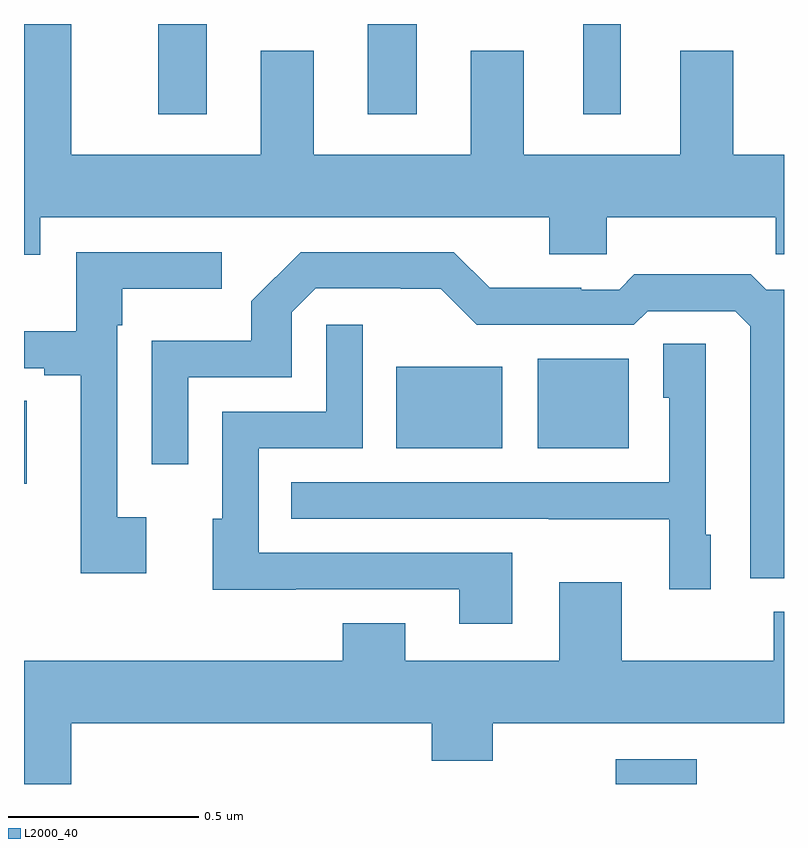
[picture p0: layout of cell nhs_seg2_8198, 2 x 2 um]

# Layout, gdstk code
import gdstk
lib = gdstk.Library(unit=1e-6, precision=1e-09)
def R(c, l, rs):  # rectangles x0, y0, x1, y1
    for r in rs: c.add(gdstk.rectangle(r[:2], r[2:], *l))
def P(c, l, *ps):  # polygons
    for p in ps: c.add(gdstk.Polygon(p, *l))
L2000_40 = (2000, 40)

nhs_seg2_8198 = lib.new_cell('nhs_seg2_8198')
R(nhs_seg2_8198, L2000_40, [(214.557,656.8,214.771,656.865), (213,657.59,213.007,657.809), (213.98,657.683,214.258,657.898), (214.352,657.683,214.591,657.919), (213.353,658.563,213.481,658.8), (213.905,658.563,214.033,658.8), (214.472,658.563,214.57,658.8)])
P(nhs_seg2_8198, L2000_40, [(213.043,658.292),(214.382,658.292),(214.382,658.194),(214.533,658.194),(214.533,658.292),(214.978,658.292),(214.978,658.194),(215,658.194),(215,658.456),(214.867,658.456),(214.867,658.729),(214.727,658.729),(214.727,658.456),(214.315,658.456),(214.315,658.729),(214.175,658.729),(214.175,658.456),(213.763,658.456),(213.763,658.729),(213.623,658.729),(213.623,658.456),(213.124,658.456),(213.124,658.8),(213,658.8),(213,658.193),(213.043,658.193)],
  [(215,658.101),(214.953,658.101),(214.913,658.141),(214.606,658.141),(214.566,658.101),(214.466,658.101),(214.466,658.106),(214.226,658.106),(214.131,658.2),(213.728,658.2),(213.598,658.07),(213.598,657.967),(213.336,657.967),(213.336,657.642),(213.432,657.642),(213.432,657.87),(213.705,657.87),(213.705,658.041),(213.768,658.104),(213.992,658.104),(213.992,658.103),(214.097,658.103),(214.191,658.008),(214.605,658.008),(214.641,658.044),(214.872,658.044),(214.911,658.005),(214.911,657.342),(215,657.342)],
  [(213.322,657.502),(213.246,657.502),(213.246,658.007),(213.259,658.007),(213.259,658.103),(213.52,658.103),(213.52,658.2),(213.138,658.2),(213.138,657.992),(213,657.992),(213,657.894),(213.053,657.894),(213.053,657.876),(213.149,657.876),(213.149,657.354),(213.322,657.354)],
  [(214.285,657.408),(213.618,657.408),(213.618,657.684),(213.891,657.684),(213.891,658.009),(213.795,658.009),(213.795,657.78),(213.522,657.78),(213.522,657.498),(213.497,657.498),(213.497,657.311),(213.715,657.311),(213.715,657.312),(214.145,657.312),(214.145,657.222),(214.285,657.222)],
  [(214.807,657.456),(214.794,657.456),(214.794,657.959),(214.682,657.959),(214.682,657.816),(214.698,657.816),(214.698,657.594),(213.703,657.594),(213.703,657.498),(214.381,657.498),(214.381,657.497),(214.698,657.497),(214.698,657.312),(214.807,657.312)],
  [(213,656.8),(213.124,656.8),(213.124,656.96),(214.073,656.96),(214.073,656.861),(214.233,656.861),(214.233,656.96),(215,656.96),(215,657.253),(214.973,657.253),(214.973,657.124),(214.573,657.124),(214.573,657.331),(214.409,657.331),(214.409,657.124),(214.003,657.124),(214.003,657.223),(213.839,657.223),(213.839,657.124),(213,657.124)])

lib.write_gds('nhs_seg2_8198.gds')
